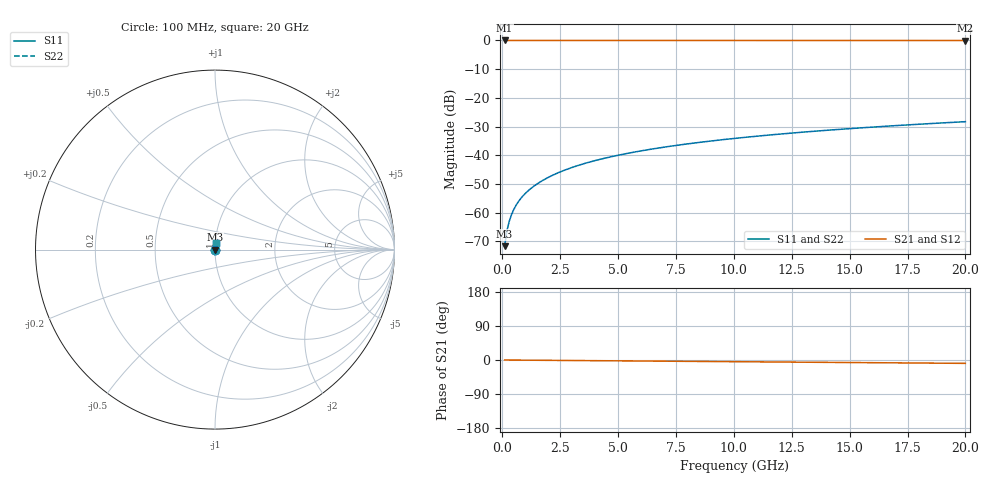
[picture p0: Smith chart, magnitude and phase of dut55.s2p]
! Touchstone file exported from HFSS 2026.1.0
!  File:  C:/ffzhzh/LocalFiles/Ansys_Project_Files/temp_train_TSV_55_1782958881_45308.aedt
!  Generated:  10:23:00 AM Jul  2, 2026
!  Design:  TSV
!  Project:  temp_train_TSV_55_1782958881_45308
! Variables:
!  h_bsmrdl = 2um
!  h_ox = 20um
!  h_rdl = 5um
!  h_sub = 82.17um
!  h_tmrdl = 5um
!  h_tsv = 82.17um
!  h_via = 3um
!  l_bsmrdl = 300um
!  l_sub = 421.1um
!  l_tmrdl = 200um
!  m_sub = 200um
!  pitch = 57.39um
!  r_tsv = 10.55um
!  s_tmrdl = 10um
!  w_bsmrdl = 18um
!  w_sub = 500um
!  w_tmrdl = 12um
!  x_tsv_center1 = 206um
!  x_tsv_center2 = 524um
!  x_tsv_center3 = 736um
!  x_tsv_center4 = 1054um
!  x_tsv_center5 = 1266um
!  x_tsv_center6 = 1584um
# GHz S MA R 50.000000
! Terminal data exported
! Port[1] = TSV1_1_T1
! Port[2] = TSV1_1_T2
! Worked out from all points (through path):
!   200 points, 100 MHz to 20 GHz, reference 50 ohm
!   highest |S21| = 0.00 dB at 100 MHz (marker M1); lowest = 0.0 dB at 20 GHz (marker M2)
!   group delay of S21, straight-line fit = 1.23 ps
!   lowest |S11| = -71.6 dB at 100 MHz (marker M3), VSWR 1.00, Z = 50 + j0.0234 ohm
!   |S11| at or under -10 dB: start of sweep to end of sweep
!   |S22| runs from -71.6 to -28.3 dB; largest |S21 - S12| = 3.2e-15
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0.1  0.0002619 63.5  0.9999 -0.0  0.9999 -0.0  0.0002619 63.5
! Gamma 0 0 0 0
! Port Impedance 50 0 50 0
0.2  0.0004836 74.6  0.9999 -0.1  0.9999 -0.1  0.0004836 74.6
0.3  0.000709 78.1  0.9999 -0.1  0.9999 -0.1  0.000709 78.1
0.4  0.0009311 79.6  0.9998 -0.2  0.9998 -0.2  0.0009311 79.6
0.5  0.001149 80.4  0.9998 -0.2  0.9998 -0.2  0.001149 80.4
0.6  0.001362 80.9  0.9998 -0.3  0.9998 -0.3  0.001362 80.9
0.7  0.001571 81.3  0.9998 -0.3  0.9998 -0.3  0.001571 81.3
0.9  0.001979 81.8  0.9997 -0.4  0.9997 -0.4  0.001979 81.8
1.1  0.00238 82.2  0.9997 -0.5  0.9997 -0.5  0.00238 82.2
1.3  0.002777 82.6  0.9997 -0.6  0.9997 -0.6  0.002777 82.6
1.6  0.003369 83.1  0.9996 -0.7  0.9996 -0.7  0.003369 83.1
1.9  0.003959 83.5  0.9996 -0.9  0.9996 -0.9  0.003959 83.5
2.6  0.005337 84.1  0.9995 -1.2  0.9995 -1.2  0.005337 84.1
3.5  0.007104 84.3  0.9995 -1.6  0.9995 -1.6  0.007104 84.3
4.2  0.008472 84.4  0.9994 -1.9  0.9994 -1.9  0.008472 84.4
5  0.01003 84.3  0.9993 -2.2  0.9993 -2.2  0.01003 84.3
6.8  0.01351 83.9  0.9992 -3.0  0.9992 -3.0  0.01351 83.9
8.3  0.01639 83.5  0.9991 -3.7  0.9991 -3.7  0.01639 83.5
10.1  0.01984 83.0  0.9989 -4.5  0.9989 -4.5  0.01984 83.0
13.4  0.02612 81.9  0.9987 -6.0  0.9987 -6.0  0.02612 81.9
16.7  0.03235 80.6  0.9984 -7.4  0.9984 -7.4  0.03235 80.6
20  0.03853 79.3  0.998 -8.9  0.998 -8.9  0.03853 79.3
